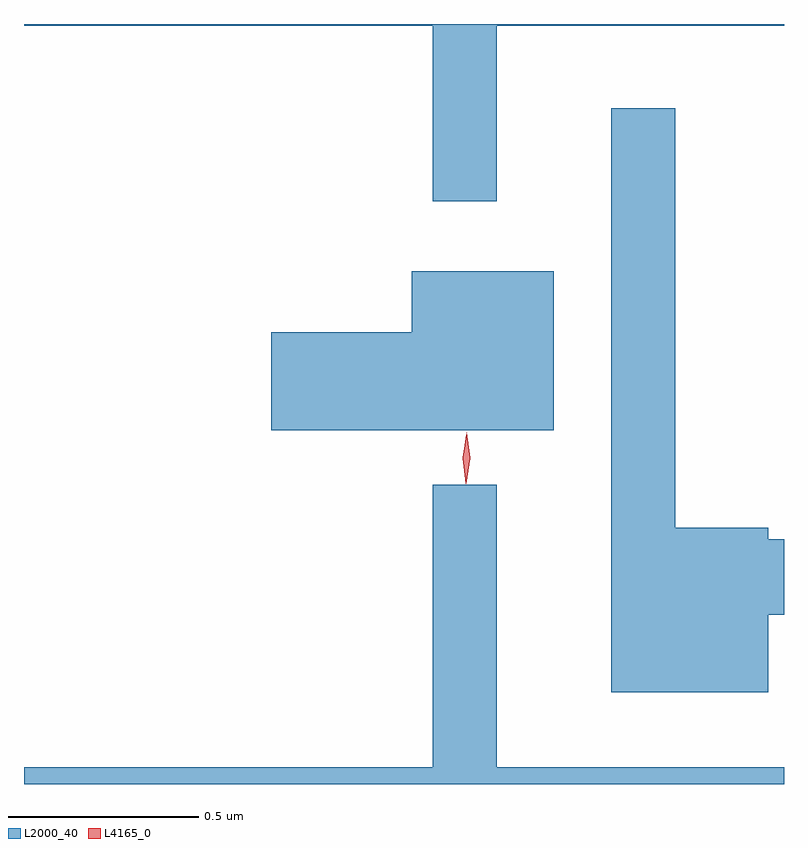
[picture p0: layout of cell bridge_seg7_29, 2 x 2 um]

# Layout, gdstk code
import gdstk
lib = gdstk.Library(unit=1e-6, precision=1e-09)
def P(c, l, *ps):  # polygons
    for p in ps: c.add(gdstk.Polygon(p, *l))
L2000_40 = (2000, 40)
L4165_0 = (4165, 0)

bridge_seg7_29 = lib.new_cell('bridge_seg7_29')
P(bridge_seg7_29, L2000_40, [(1701.069,1747.616),(1701.825,1747.616),(1701.825,1747.62),(1699.825,1747.62),(1699.825,1747.616),(1700.901,1747.616),(1700.901,1747.153),(1701.069,1747.153)],
  [(1701.784,1746.066),(1701.825,1746.066),(1701.825,1746.264),(1701.784,1746.264),(1701.784,1746.294),(1701.539,1746.294),(1701.539,1747.398),(1701.371,1747.398),(1701.371,1745.861),(1701.784,1745.861)],
  [(1701.219,1746.969),(1700.846,1746.969),(1700.846,1746.809),(1700.476,1746.809),(1700.476,1746.551),(1701.219,1746.551)],
  [(1701.825,1745.664),(1701.069,1745.664),(1701.069,1746.408),(1700.901,1746.408),(1700.901,1745.664),(1699.825,1745.664),(1699.825,1745.62),(1701.825,1745.62)])
P(bridge_seg7_29, L4165_0, [(1700.988,1746.41),(1700.988,1746.41),(1700.979,1746.478),(1700.99,1746.545),(1700.99,1746.546),(1700.99,1746.545),(1700.999,1746.478),(1700.989,1746.41)],
  [(1700.988,1746.413),(1700.987,1746.414),(1700.979,1746.476),(1700.989,1746.539),(1700.99,1746.54),(1700.99,1746.539),(1700.999,1746.476),(1700.988,1746.414)])

lib.write_gds('bridge_seg7_29.gds')
